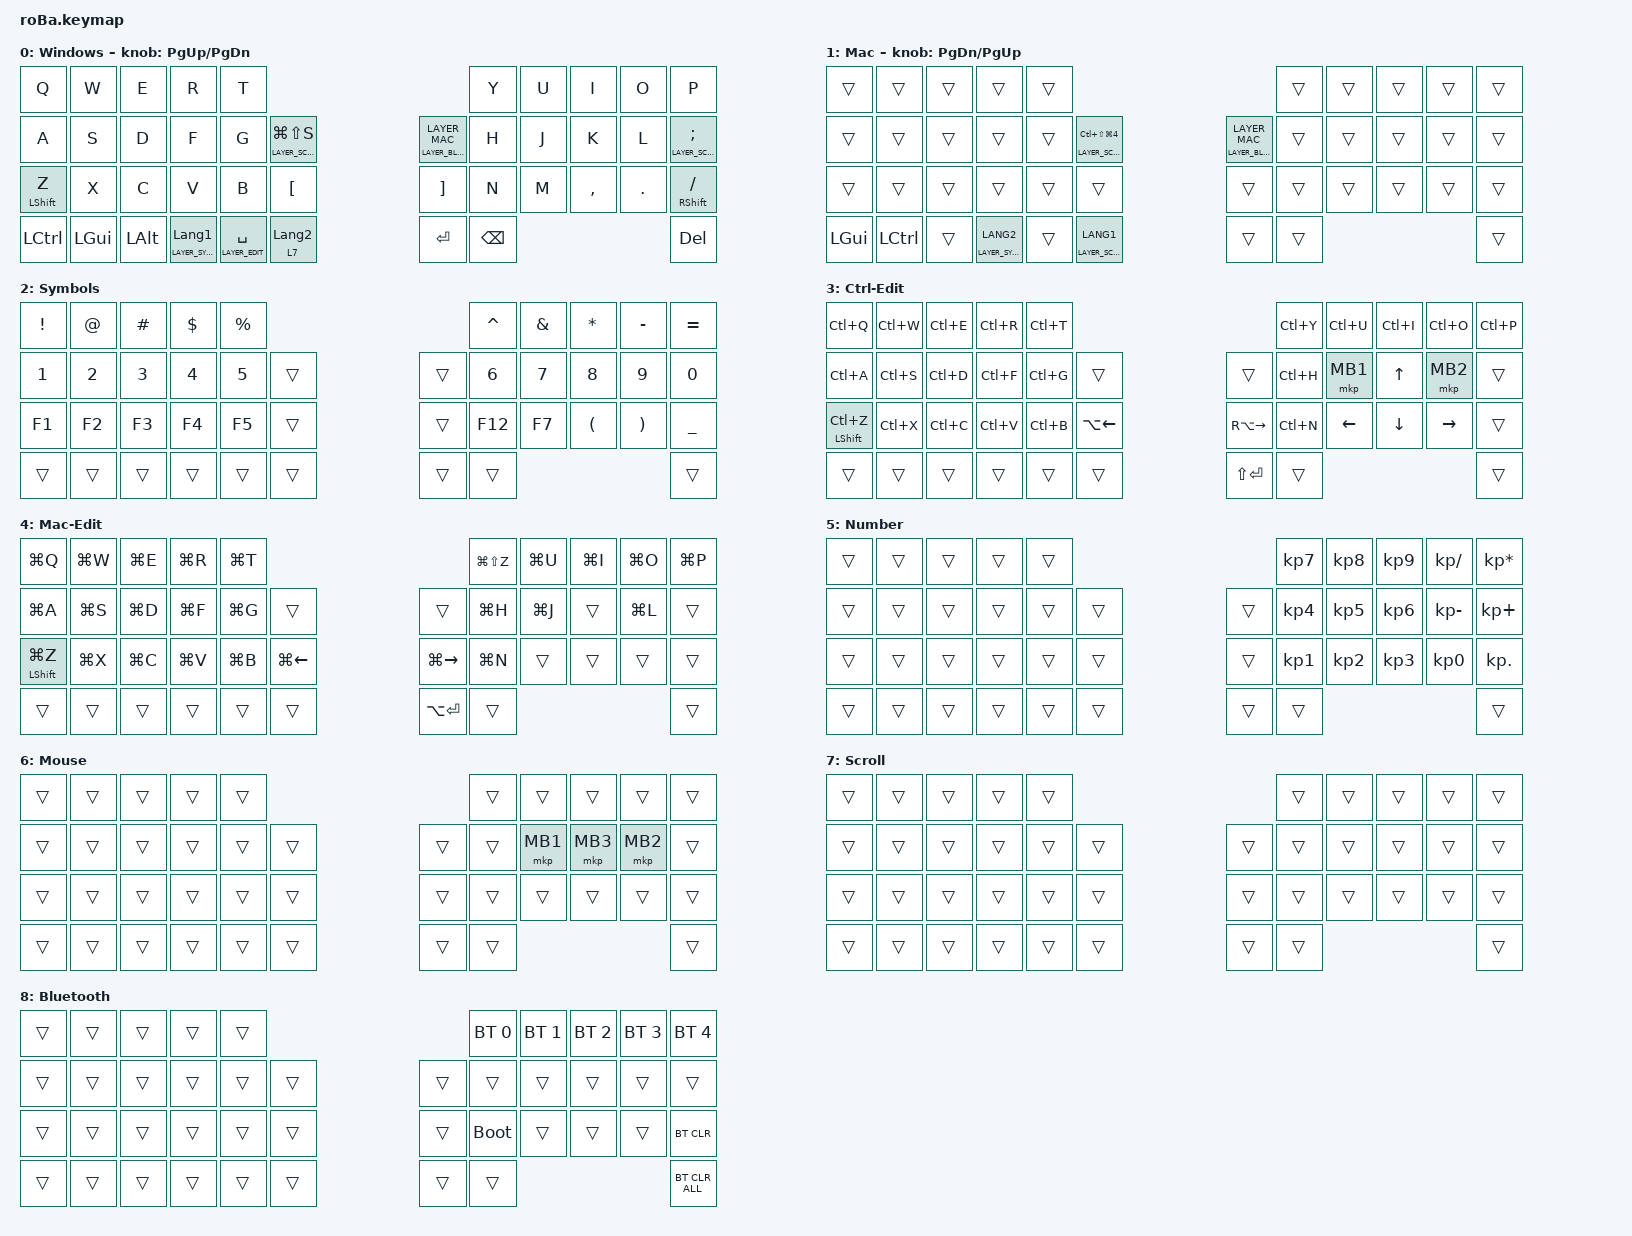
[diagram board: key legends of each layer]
#include <behaviors.dtsi>
#include <dt-bindings/zmk/bt.h>
#include <dt-bindings/zmk/keys.h>
#include <dt-bindings/zmk/pointing.h>

/* Mac mode is below the functional layers so the trackball sees Mouse/Scroll.
 * The preview numbers are logical; ZMK indices are shifted by the Mac layer. */

#define LAYER_BASE 0
#define LAYER_MAC 1
#define LAYER_SYMBOLS 2
#define LAYER_EDIT 3
#define LAYER_MAC_EDIT 4
#define LAYER_NUMBER 5
#define LAYER_MOUSE 6
#define LAYER_SCROLL 7
#define LAYER_BLUETOOTH 8

&mt {
    flavor = "balanced";
    quick-tap-ms = <0>;
};

&trackball {
    automouse-layer = <LAYER_MOUSE>;
    scroll-layers = <LAYER_SCROLL>;
};

/ {
    combos {
        compatible = "zmk,combos";

        esc_qw {
            bindings = <&kp ESCAPE>;
            key-positions = <0 1>;
            layers = <LAYER_BASE LAYER_MAC>;
        };

        grave_op {
            bindings = <&kp GRAVE>;
            key-positions = <8 9>;
            layers = <LAYER_BASE LAYER_MAC>;
        };

        yen_vb {
            bindings = <&kp INT_YEN>;
            key-positions = <25 26>;
            layers = <LAYER_BASE LAYER_MAC>;
        };

        /* Original roBa combos, adapted to the reviewed base layer. */

        tab_sd {
            bindings = <&kp TAB>;
            key-positions = <11 12>;
            layers = <LAYER_BASE LAYER_MAC>;
        };

        shift_tab_df {
            bindings = <&kp LS(TAB)>;
            key-positions = <12 13>;
            layers = <LAYER_BASE LAYER_MAC>;
        };

        muhennkan_as_windows {
            bindings = <&kp INT_MUHENKAN>;
            key-positions = <10 11>;
            layers = <LAYER_BASE>;
        };

        double_quote_l_semicolon {
            bindings = <&kp DOUBLE_QUOTES>;
            key-positions = <20 21>;
            layers = <LAYER_BASE LAYER_MAC>;
        };

                single_quote_kl {
            bindings = <&kp SINGLE_QUOTE>;
            key-positions = <19 20>;
            layers = <LAYER_BASE LAYER_MAC>;
        };

equal_cv {
            bindings = <&kp EQUAL>;
            key-positions = <24 25>;
            layers = <LAYER_BASE LAYER_MAC>;
        };
    };

    conditional_layers {
        compatible = "zmk,conditional-layers";

        mac_edit {
            if-layers = <LAYER_MAC LAYER_EDIT>;
            then-layer = <LAYER_MAC_EDIT>;
        };
    };

    behaviors {
        os_bt: os_mode_or_bluetooth {
            compatible = "zmk,behavior-hold-tap";
            label = "OS_MODE_OR_BLUETOOTH";
            #binding-cells = <2>;
            flavor = "balanced";
            tapping-term-ms = <200>;
            bindings = <&mo>, <&tog>;
        };

        shot_scroll: screenshot_or_scroll {
            compatible = "zmk,behavior-hold-tap";
            label = "SCREENSHOT_OR_SCROLL";
            #binding-cells = <2>;
            flavor = "hold-preferred";
            tapping-term-ms = <200>;
            bindings = <&mo>, <&kp>;
        };
    };

    keymap {
        compatible = "zmk,keymap";

        default_layer {
            display-name = "Windows";
            bindings = <
&kp Q             &kp W     &kp E     &kp R                         &kp T                                                                                            &kp Y          &kp U  &kp I      &kp O    &kp P
&kp A             &kp S     &kp D     &kp F                         &kp G                 &shot_scroll LAYER_SCROLL LG(LS(S))      &os_bt LAYER_BLUETOOTH LAYER_MAC  &kp H          &kp J  &kp K      &kp L    &lt LAYER_SCROLL SEMICOLON
&mt LEFT_SHIFT Z  &kp X     &kp C     &kp V                         &kp B                 &kp LEFT_BRACKET                         &kp RIGHT_BRACKET                 &kp N          &kp M  &kp COMMA  &kp DOT  &mt RIGHT_SHIFT SLASH
&kp LCTRL         &kp LGUI  &kp LALT  &lt LAYER_SYMBOLS LANGUAGE_1  &lt LAYER_EDIT SPACE  &lt 7 LANGUAGE_2                         &kp ENTER                         &kp BACKSPACE                             &kp DELETE
            >;

            sensor-bindings = <&inc_dec_kp PG_UP PAGE_DOWN>;
        };

        mac {
            display-name = "Mac";
            bindings = <
&trans    &trans     &trans  &trans                   &trans                                                                                  &trans  &trans  &trans  &trans  &trans
&trans    &trans     &trans  &trans                   &trans  &shot_scroll LAYER_SCROLL LC(LS(LG(N4)))      &os_bt LAYER_BLUETOOTH LAYER_MAC  &trans  &trans  &trans  &trans  &trans
&trans    &trans     &trans  &trans                   &trans  &trans                                        &trans                            &trans  &trans  &trans  &trans  &trans
&kp LGUI  &kp LCTRL  &trans  &lt LAYER_SYMBOLS LANG2  &trans  &lt LAYER_SCROLL LANG1                        &trans                            &trans                          &trans
            >;
            sensor-bindings = <&inc_dec_kp PAGE_DOWN PG_UP>;
        };

        symbols {
            display-name = "Symbols";
            bindings = <
&kp EXCLAMATION  &kp AT_SIGN  &kp HASH  &kp DOLLAR  &kp PERCENT                      &kp CARET  &kp AMPERSAND  &kp ASTERISK          &kp MINUS              &kp EQUAL
&kp N1           &kp N2       &kp N3    &kp N4      &kp N5       &trans      &trans  &kp N6     &kp N7         &kp N8                &kp N9                 &kp N0
&kp F1           &kp F2       &kp F3    &kp F4      &kp F5       &trans      &trans  &kp F12    &kp F7         &kp LEFT_PARENTHESIS  &kp RIGHT_PARENTHESIS  &kp UNDERSCORE
&trans           &trans       &trans    &trans      &trans       &trans      &trans  &trans                                                                 &trans
            >;
        };

        edit {
            display-name = "Ctrl-Edit";
            bindings = <
&kp LC(Q)             &kp LC(W)  &kp LC(E)  &kp LC(R)  &kp LC(T)                                               &kp LC(Y)  &kp LC(U)  &kp LC(I)  &kp LC(O)  &kp LC(P)
&kp LC(A)             &kp LC(S)  &kp LC(D)  &kp LC(F)  &kp LC(G)  &trans                  &trans               &kp LC(H)  &mkp MB1   &kp UP     &mkp MB2   &trans
&mt LEFT_SHIFT LC(Z)  &kp LC(X)  &kp LC(C)  &kp LC(V)  &kp LC(B)  &kp LA(LEFT_ARROW)      &kp RA(RIGHT_ARROW)  &kp LC(N)  &kp LEFT   &kp DOWN   &kp RIGHT  &trans
&trans                &trans     &trans     &trans     &trans     &trans                  &kp LS(ENTER)        &trans                                      &trans
            >;
        };

        mac_edit {
            display-name = "Mac-Edit";
            bindings = <
&kp LG(Q)             &kp LG(W)  &kp LG(E)  &kp LG(R)  &kp LG(T)                      &kp LG(LS(Z))  &kp LG(U)  &kp LG(I)  &kp LG(O)  &kp LG(P)
&kp LG(A)             &kp LG(S)  &kp LG(D)  &kp LG(F)  &kp LG(G)  &trans      &trans  &kp LG(H)      &kp LG(J)  &trans     &kp LG(L)  &trans
&mt LEFT_SHIFT LG(Z)  &kp LG(X)  &kp LG(C)  &kp LG(V)  &kp LG(B)  &kp LG(LEFT_ARROW)  &kp LG(RIGHT_ARROW)  &kp LG(N)      &trans     &trans     &trans     &trans
&trans                &trans     &trans     &trans     &trans     &trans      &kp LA(ENTER)  &trans                                          &trans
            >;
        };

        number {
            display-name = "Number";
            bindings = <
&trans  &trans  &trans  &trans  &trans                      &kp KP_NUMBER_7  &kp KP_NUMBER_8  &kp KP_NUMBER_9  &kp KP_DIVIDE    &kp KP_MULTIPLY
&trans  &trans  &trans  &trans  &trans  &trans      &trans  &kp KP_NUMBER_4  &kp KP_NUMBER_5  &kp KP_NUMBER_6  &kp KP_MINUS     &kp KP_PLUS
&trans  &trans  &trans  &trans  &trans  &trans      &trans  &kp KP_NUMBER_1  &kp KP_NUMBER_2  &kp KP_NUMBER_3  &kp KP_NUMBER_0  &kp KP_DOT
&trans  &trans  &trans  &trans  &trans  &trans      &trans  &trans                                                              &trans
            >;
        };

        mouse {
            display-name = "Mouse";
            bindings = <
&trans  &trans  &trans  &trans  &trans                      &trans  &trans    &trans    &trans    &trans
&trans  &trans  &trans  &trans  &trans  &trans      &trans  &trans  &mkp MB1  &mkp MB3  &mkp MB2  &trans
&trans  &trans  &trans  &trans  &trans  &trans      &trans  &trans  &trans    &trans    &trans    &trans
&trans  &trans  &trans  &trans  &trans  &trans      &trans  &trans                                &trans
            >;
        };

        scroll {
            display-name = "Scroll";
            bindings = <
&trans  &trans  &trans  &trans  &trans                      &trans  &trans  &trans  &trans  &trans
&trans  &trans  &trans  &trans  &trans  &trans      &trans  &trans  &trans  &trans  &trans  &trans
&trans  &trans  &trans  &trans  &trans  &trans      &trans  &trans  &trans  &trans  &trans  &trans
&trans  &trans  &trans  &trans  &trans  &trans      &trans  &trans                          &trans
            >;
        };

        bluetooth {
            display-name = "Bluetooth";
            bindings = <
&trans  &trans  &trans  &trans  &trans                      &bt BT_SEL 0  &bt BT_SEL 1  &bt BT_SEL 2  &bt BT_SEL 3  &bt BT_SEL 4
&trans  &trans  &trans  &trans  &trans  &trans      &trans  &trans        &trans        &trans        &trans        &trans
&trans  &trans  &trans  &trans  &trans  &trans      &trans  &bootloader   &trans        &trans        &trans        &bt BT_CLR
&trans  &trans  &trans  &trans  &trans  &trans      &trans  &trans                                                  &bt BT_CLR_ALL
            >;
        };
    };
};
